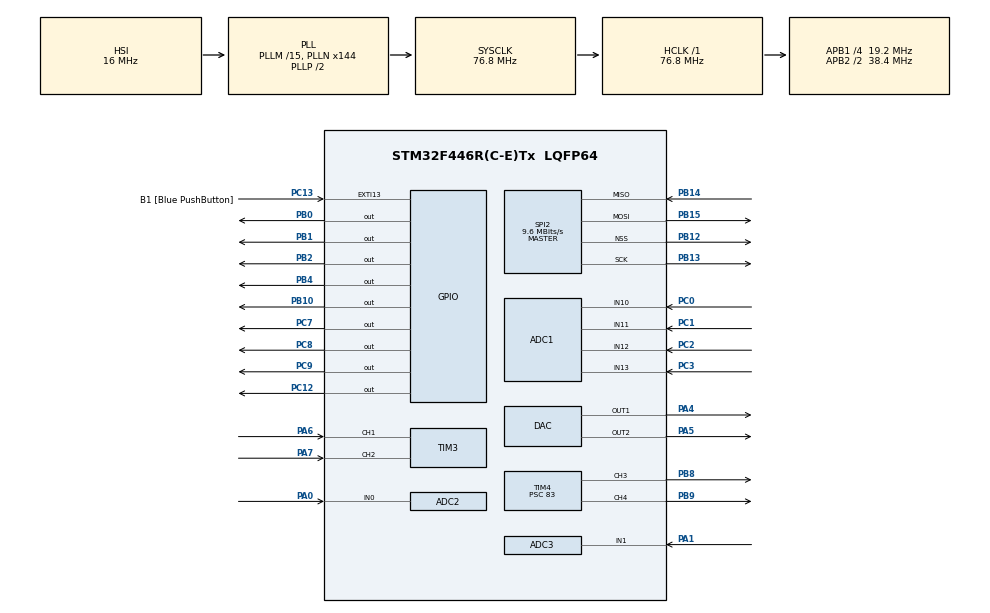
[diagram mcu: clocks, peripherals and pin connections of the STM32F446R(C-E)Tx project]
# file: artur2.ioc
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ADC1.Channel-2\#ChannelRegularConversion=ADC_CHANNEL_10
ADC1.ClockPrescaler=ADC_CLOCK_SYNC_PCLK_DIV8
ADC1.InjNumberOfConversion=0
ADC1.NbrOfConversion=1
ADC1.NbrOfConversionFlag=1
ADC1.Rank-2\#ChannelRegularConversion=1
ADC1.SamplingTime-2\#ChannelRegularConversion=ADC_SAMPLETIME_3CYCLES
ADC1.master=1
ADC2.Channel-0\#ChannelRegularConversion=ADC_CHANNEL_0
ADC2.ClockPrescaler=ADC_CLOCK_SYNC_PCLK_DIV8
ADC2.ContinuousConvMode=ENABLE
ADC2.NbrOfConversion=1
ADC2.NbrOfConversionFlag=1
ADC2.Rank-0\#ChannelRegularConversion=1
ADC2.SamplingTime-0\#ChannelRegularConversion=ADC_SAMPLETIME_3CYCLES
ADC3.Channel-2\#ChannelRegularConversion=ADC_CHANNEL_1
ADC3.ClockPrescaler=ADC_CLOCK_SYNC_PCLK_DIV8
ADC3.ContinuousConvMode=ENABLE
ADC3.NbrOfConversionFlag=1
ADC3.Rank-2\#ChannelRegularConversion=1
ADC3.SamplingTime-2\#ChannelRegularConversion=ADC_SAMPLETIME_3CYCLES
Dma.ADC2.0.Direction=DMA_PERIPH_TO_MEMORY
Dma.ADC2.0.FIFOMode=DMA_FIFOMODE_DISABLE
Dma.ADC2.0.Instance=DMA2_Stream2
Dma.ADC2.0.MemDataAlignment=DMA_MDATAALIGN_HALFWORD
Dma.ADC2.0.MemInc=DMA_MINC_ENABLE
Dma.ADC2.0.Mode=DMA_NORMAL
Dma.ADC2.0.PeriphDataAlignment=DMA_PDATAALIGN_HALFWORD
Dma.ADC2.0.PeriphInc=DMA_PINC_DISABLE
Dma.ADC2.0.Priority=DMA_PRIORITY_LOW
Dma.Request0=ADC2
Mcu.Family=STM32F4
Mcu.Name=STM32F446R(C-E)Tx
Mcu.Package=LQFP64
NVIC.DMA2_Stream2_IRQn=true\:0\:0\:false\:false\:true\:false\:true\:true
NVIC.PriorityGroup=NVIC_PRIORITYGROUP_0
PA0-WKUP.Signal=ADCx_IN0
PA1.Signal=ADCx_IN1
PA13.GPIO_Label=TMS
PA13.Mode=Serial_Wire
PA13.Signal=SYS_JTMS-SWDIO
PA14.GPIO_Label=TCK
PA14.Mode=Serial_Wire
PA14.Signal=SYS_JTCK-SWCLK
PA2.GPIO_Label=USART_TX
PA2.Signal=USART2_TX
PA3.GPIO_Label=USART_RX
PA3.Signal=USART2_RX
PA4.Signal=COMP_DAC1_group
PA5.Signal=COMP_DAC2_group
PA6.Signal=S_TIM3_CH1
PA7.Signal=S_TIM3_CH2
PB0.Signal=GPIO_Output
PB1.Signal=GPIO_Output
PB10.Signal=GPIO_Output
PB12.Mode=NSS_Signal_Hard_Output
PB12.Signal=SPI2_NSS
PB13.Mode=Full_Duplex_Master
PB13.Signal=SPI2_SCK
PB14.Mode=Full_Duplex_Master
PB14.Signal=SPI2_MISO
PB15.Mode=Full_Duplex_Master
PB15.Signal=SPI2_MOSI
PB2.Signal=GPIO_Output
PB3.Signal=SYS_JTDO-SWO
PB4.Signal=GPIO_Output
PB8.Signal=S_TIM4_CH3
PB9.Signal=S_TIM4_CH4
PC0.Signal=ADCx_IN10
PC1.Signal=ADCx_IN11
PC12.Signal=GPIO_Output
PC13.GPIO_Label=B1 [Blue PushButton]
PC13.GPIO_ModeDefaultEXTI=GPIO_MODE_IT_FALLING
PC13.Signal=GPXTI13
PC14-OSC32_IN.Mode=LSE-External-Oscillator
PC14-OSC32_IN.Signal=RCC_OSC32_IN
PC15-OSC32_OUT.Mode=LSE-External-Oscillator
PC15-OSC32_OUT.Signal=RCC_OSC32_OUT
PC2.Signal=ADCx_IN12
PC3.Signal=ADCx_IN13
PC7.Signal=GPIO_Output
PC8.Signal=GPIO_Output
PC9.Signal=GPIO_Output
PH0-OSC_IN.Mode=HSE-External-Oscillator
PH0-OSC_IN.Signal=RCC_OSC_IN
PH1-OSC_OUT.Mode=HSE-External-Oscillator
PH1-OSC_OUT.Signal=RCC_OSC_OUT
ProjectManager.HeapSize=0x200
ProjectManager.StackSize=0x400
ProjectManager.TargetToolchain=STM32CubeIDE
RCC.48MHZClocksFreq_Value=84000000
RCC.AHBFreq_Value=76800000
RCC.APB1CLKDivider=RCC_HCLK_DIV4
RCC.APB1Freq_Value=19200000
RCC.APB1TimFreq_Value=38400000
RCC.APB2CLKDivider=RCC_HCLK_DIV2
RCC.APB2Freq_Value=38400000
RCC.APB2TimFreq_Value=76800000
RCC.CortexFreq_Value=76800000
RCC.FLatency-AdvancedSettings=FLASH_LATENCY_2
RCC.HCLKFreq_Value=76800000
RCC.HSE_VALUE=25000000
RCC.HSI_VALUE=16000000
RCC.PLLM=15
RCC.PLLN=144
RCC.PLLQ=5
RCC.SYSCLKFreq_VALUE=76800000
RCC.SYSCLKSource=RCC_SYSCLKSOURCE_PLLCLK
RCC.USBFreq_Value=30720000
RCC.VCOOutputFreq_Value=153600000
SH.ADCx_IN0.0=ADC2_IN0,IN0
SH.ADCx_IN1.0=ADC3_IN1,IN1
SH.ADCx_IN10.0=ADC1_IN10,IN10
SH.ADCx_IN11.0=ADC1_IN11,IN11
SH.ADCx_IN12.0=ADC1_IN12,IN12
SH.ADCx_IN13.0=ADC1_IN13,IN13
SH.COMP_DAC1_group.0=DAC_OUT1,DAC_OUT1
SH.COMP_DAC2_group.0=DAC_OUT2,DAC_OUT2
SH.S_TIM3_CH1.0=TIM3_CH1,Input_Capture1_from_TI1
SH.S_TIM3_CH2.0=TIM3_CH2,Input_Capture2_from_TI2
SH.S_TIM4_CH3.0=TIM4_CH3,PWM Generation3 CH3
SH.S_TIM4_CH4.0=TIM4_CH4,PWM Generation4 CH4
SPI2.BaudRatePrescaler=SPI_BAUDRATEPRESCALER_2
SPI2.CalculateBaudRate=9.6 MBits/s
SPI2.Direction=SPI_DIRECTION_2LINES
SPI2.Mode=SPI_MODE_MASTER
SPI2.VirtualNSS=VM_NSSHARD
SPI2.VirtualType=VM_MASTER
TIM3.Channel-Input_Capture1_from_TI1=TIM_CHANNEL_1
TIM3.Channel-Input_Capture2_from_TI2=TIM_CHANNEL_2
TIM4.Channel-PWM\ Generation3\ CH3=TIM_CHANNEL_3
TIM4.Channel-PWM\ Generation4\ CH4=TIM_CHANNEL_4
TIM4.Period=19999
TIM4.Prescaler=83
TIM4.Pulse-PWM\ Generation3\ CH3=10000
TIM4.Pulse-PWM\ Generation4\ CH4=10000
VP_ADC1_Vref_Input.Mode=IN-Vrefint
board=NUCLEO-F446RE

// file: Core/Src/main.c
/* USER CODE BEGIN Header */
/**
  ******************************************************************************
  * @file           : main.c
  * @brief          : Main program body
  ******************************************************************************
  * @attention
  *
  * Copyright (c) 2024 STMicroelectronics.
  * All rights reserved.
  *
  * This software is licensed under terms that can be found in the LICENSE file
  * in the root directory of this software component.
  * If no LICENSE file comes with this software, it is provided AS-IS.
  *
  ******************************************************************************
  */
/* USER CODE END Header */
#include "main.h"

/* USER CODE BEGIN Includes */
#include "stdio.h"
#include "arm_math.h"
#include "temperature_control.h"
#include "toggle_pins.h"
#include "read_adc_voltage.h"
#include "read_voltage.h"
#include "measure_frequency.h"
#include "calculate_angles.h"

/* USER CODE END Includes */

/* USER CODE BEGIN PD */
#define NUM_SAMPLES 128  // Liczba próbek na kanał
#define ADC_CHANNELS 2   // Liczba kanałów (PA0, PA1)
#define FFT_SIZE 128

/* USER CODE END PD */

ADC_HandleTypeDef hadc1;
ADC_HandleTypeDef hadc2;
ADC_HandleTypeDef hadc3;
DMA_HandleTypeDef hdma_adc2;

DAC_HandleTypeDef hdac;

SPI_HandleTypeDef hspi2;

TIM_HandleTypeDef htim3;
TIM_HandleTypeDef htim4;

/* USER CODE BEGIN PV */
volatile uint32_t measuredFrequency = 0;
volatile uint8_t adc_ready = 0;

float fft_input[2*FFT_SIZE];
float fft_output[FFT_SIZE / 2]; // Magnitude output of the FFT
#define SAMPLE_RATE 10000       // Define your sampling rate in Hz
float thermistor_measurement[256];
uint16_t adc_buffer[FFT_SIZE];

typedef struct {
    float rsia;
    float rsib;
    float voltage_measurements;
    float frequency;
}PhaseSettings;

typedef struct {
    float amplitude_3kHz;
    PhaseSettings phaseSettinggs[4];

} DAC_Settings;

DAC_Settings measurements[1000];

/* USER CODE END PV */

void SystemClock_Config(void);
static void MX_GPIO_Init(void);
static void MX_DMA_Init(void);
static void MX_ADC1_Init(void);
static void MX_DAC_Init(void);
static void MX_SPI2_Init(void);
static void MX_ADC2_Init(void);
static void MX_ADC3_Init(void);
static void MX_TIM3_Init(void);
static void MX_TIM4_Init(void);
/* USER CODE BEGIN PFP */

void HAL_TIM_IC_CaptureCallback(TIM_HandleTypeDef *htim);
int _write(int file, char *ptr, int len);
void print_adc_results(void);
//void measure_frequency(void);
float Read_ADC_Voltage(void);
void Start_Timer(void);
uint32_t Stop_Timer(void);
void Measure_Time(void);
uint32_t ADC_Read(void);
void sendToAD5641(uint16_t value);
//void performFFT(const float32_t* input, float32_t* output, uint16_t size);
void toggle_pins(void);

/* USER CODE END PFP */

/* USER CODE BEGIN 0 */

void HAL_TIM_IC_CaptureCallback(TIM_HandleTypeDef *htim)
{
    static uint32_t capture1 = 0, capture2 = 0;

    if (htim->Instance == TIM3 && htim->Channel == HAL_TIM_ACTIVE_CHANNEL_1)
    {
        capture1 = capture2;
        capture2 = HAL_TIM_ReadCapturedValue(htim, TIM_CHANNEL_1);

        if (capture2 > capture1)
        {
            uint32_t period = capture2 - capture1;
            measuredFrequency = HAL_RCC_GetPCLK1Freq() / (htim->Init.Prescaler + 1) / period;
        }
        else if (capture1 > capture2)
        {
            uint32_t period = (htim->Init.Period - capture1) + capture2 + 1;
            measuredFrequency = HAL_RCC_GetPCLK1Freq() / (htim->Init.Prescaler + 1) / period;
        }
    }
}

//wypsiywanie pomiarów z PAO PA1
//AF_A AF_B

//LICZNIKI DO FREQ_MEAS
void Start_Timer(void)
{
    __HAL_TIM_SET_COUNTER(&htim2, 0);  // Zerowanie licznika
    HAL_TIM_Base_Start(&htim2);  // Uruchomienie timera
}

uint32_t Stop_Timer(void)
{
    HAL_TIM_Base_Stop(&htim2);  // Zatrzymanie timera
    return __HAL_TIM_GET_COUNTER(&htim2);  // Odczytanie wartości licznika
}

void Measure_Time(void)
{
    // Symulacja początku zdarzenia
    Start_Timer();

    HAL_Delay(1);  // Symulacja operacji, np. 1 ms opóźnienia

    // Symulacja końca zdarzenia
    uint32_t elapsed_time = Stop_Timer();

    // Wyświetlenie wyniku
    printf("Zmierzony czas: %lu µs\n\r", elapsed_time);
}

uint32_t ADC_Read(void)
{
    HAL_ADC_Start(&hadc1);  // Start pojedynczej konwersji
    HAL_ADC_PollForConversion(&hadc1, HAL_MAX_DELAY);  // Czekaj na wynik
    uint32_t value = HAL_ADC_GetValue(&hadc1);  // Pobranie wyniku
    return value;
}

//ustawienie wartości na PA4

void sendToAD5641(uint16_t value)
{
    uint8_t data[2];

    // Podziel wartość 16-bitową na 2 bajty
    data[0] = (value >> 8) & 0xFF; // MSB
    data[1] = value & 0xFF;        // LSB

    // Wybierz układ AD5641 (CS niski)
    HAL_GPIO_WritePin(GPIOB, GPIO_PIN_12, GPIO_PIN_RESET); // Przykladowy pin CS

    // Wyślij dane przez SPI
    HAL_SPI_Transmit(&hspi2, data, 2, HAL_MAX_DELAY);

    // Odznacz układ (CS wysoki)
    HAL_GPIO_WritePin(GPIOB, GPIO_PIN_12, GPIO_PIN_SET);
}

#include "arm_math.h"

void perform_fft(void) {
    // Initialize RFFT instance
    arm_rfft_fast_instance_f32 S;
    if (arm_rfft_fast_init_f32(&S, FFT_SIZE) != ARM_MATH_SUCCESS) {
        printf("FFT Initialization Error!\n\r");
        return;
    }

    // Convert ADC input to float and normalize
    for (int i = 0; i < FFT_SIZE; i++) {
        fft_input[i] = ((float)adc_buffer[i] / 4095.0f) * 3.3f; // Scale to voltage
    }

    // Perform FFT
    arm_rfft_fast_f32(&S, fft_input, fft_output, 0);

    // Compute magnitude of the FFT output
    for (int i = 0; i < FFT_SIZE / 2; i++) {
        fft_output[i] = sqrtf(fft_output[2 * i] * fft_output[2 * i] +
                              fft_output[2 * i + 1] * fft_output[2 * i + 1]);
    }

    // Find the dominant frequency
    float max_amplitude = 0.0f;
    uint32_t max_index = 0;
    for (int i = 0; i < FFT_SIZE / 2; i++) {
        if (fft_output[i] > max_amplitude) {
            max_amplitude = fft_output[i];
            max_index = i;
        }
    }

    // Compute the dominant frequency
    float dominant_frequency = (float)max_index * SAMPLE_RATE / FFT_SIZE;

    // Print results
    printf("Dominant Frequency: %.2f Hz, Amplitude: %.3f\n\r", dominant_frequency, max_amplitude);
}

void HAL_ADC_ConvCpltCallback(ADC_HandleTypeDef *hadc) {
    if (hadc->Instance == ADC2) {
        adc_ready = 1;  // Set a flag to indicate data is ready for processing
    }
}

#define DAC_MAX_VALUE          4095
#define DAC_STEP_SIZE          1

#define SAMPLES_COUNT          128       // Number of audio samples
#define SAMPLE_FREQUENCY       10000.0f  // 10 kHz sampling
#define TARGET_FREQ_BIN        13        // Approx. bin index for 1 kHz in 128-pt FFT at 10 kHz
#define RSSI_THRESHOLD         (0.05f)   // Example threshold for -50 dB, tune for your hardware
#define RATIO_THRESHOLD        2.0f      // Must be 2x average amplitude

// Structure to hold scanning candidates
typedef struct {
    float approximateSignalFrequency;  // e.g., from mapping DAC value to frequency
    uint16_t dacValue;
    float vcoTemperature;
    float amplitude1kHz;
    float averageAmplitude;
    float ratio;  // amplitude1kHz / averageAmplitude
} CandidateResult;

// Global or static arrays to store candidates
static CandidateResult candidateList[64]; // Adjust size if you expect more
static uint32_t candidateCount = 0;

// Forward declarations of functions assumed to exist.

//-------------------------------------------------------------------------
// Function: Perform a scanning procedure over a DAC range
//-------------------------------------------------------------------------

// Example frequency mapping for demonstration.
// Tweak to match your VCO's tuning curve or actual measured function.
static float CalculateFrequencyFromDAC(uint16_t dacValue)
{
    // Suppose 0 -> 2.3 GHz, 4095 -> 2.6 GHz, purely as an example:
    float freqMin = 2.3e9f; // 2.3 GHz
    float freqMax = 2.6e9f; // 2.6 GHz
    float ratio   = (float)dacValue / (float)DAC_MAX_VALUE;
    return freqMin + ratio * (freqMax - freqMin);
}

static void SetDACValue(uint16_t dacValue)
{
    // Example stub. You would set your hardware DAC here.
    // e.g., HAL_DAC_SetValue(&hdac, DAC_CHANNEL_1, DAC_ALIGN_12B_R, dacValue);
}

static float MeasureRSSI(void)
{
    //TODO
	return 0;
}

static void AcquireAudioSamples(float *buffer, uint32_t numSamples, float sampleRate)
{
	//remember that buffer size = 2*numSamples
   //TODO
}

void ScanFrequencyRange(void)
{
    float bestRatio = 0.0f;
    uint16_t bestDACValue = 0;

    // Clear candidate list
    candidateCount = 0;

    // Iterate through the DAC range
    for(uint16_t dacValue = 0; dacValue <= DAC_MAX_VALUE; dacValue += DAC_STEP_SIZE)
    {
        // 1) Set the DAC to the current value
        SetDACValue(dacValue);

        // 2) Measure the RSSI
        float rssi = MeasureRSSI();

        // Check if RSSI > -50 dB threshold
        if(rssi > RSSI_THRESHOLD)
        {
            // 3) Acquire 128 samples of the demodulated audio at 10 kHz
            AcquireAudioSamples(fft_input, FFT_SIZE, SAMPLE_FREQUENCY);

            // 5) Check amplitude at ~1 kHz vs. average amplitude
            //    The bin for 1 kHz is roughly ~13 for 128 samples at 10 kHz
            float amplitude1kHz = fft_output[TARGET_FREQ_BIN];

            // Compute average amplitude across all bins from 0..(SAMPLES_COUNT/2 - 1)
            // (You might skip bin 0 if it’s large DC, but that’s up to you.)
            float sum = 0.0f;
            for(uint32_t i = 0; i < (SAMPLES_COUNT / 2); i++) {
                sum += fft_output[i];
            }
            float avgAmplitude = sum / (float)(SAMPLES_COUNT / 2);

            float ratio = amplitude1kHz / (avgAmplitude + 1e-9f); // Avoid divide-by-zero

            // Check if amplitude at 1 kHz is >= 2x average
            if(ratio >= RATIO_THRESHOLD)
            {
                // 6) Record in candidate list
                if(candidateCount < (sizeof(candidateList)/sizeof(candidateList[0])))
                {
                    candidateList[candidateCount].approximateSignalFrequency = CalculateFrequencyFromDAC(dacValue);
                    candidateList[candidateCount].dacValue                 = dacValue;
                    candidateList[candidateCount].vcoTemperature           = Read_Temperature_Celsius();
                    candidateList[candidateCount].amplitude1kHz            = amplitude1kHz;
                    candidateList[candidateCount].averageAmplitude         = avgAmplitude;
                    candidateList[candidateCount].ratio                    = ratio;
                    candidateCount++;
                }

                // 7) Print results
                printf("Candidate found!\n\r");
                printf("  DAC = %u\n\r", dacValue);
                printf("  RSSI = %.3f\n\r", rssi);
                printf("  Approx. Frequency = %.2f Hz\n\r",
                       CalculateFrequencyFromDAC(dacValue));
                printf("  Temperature = %.2f degC\n\r", Read_Temperature_Celsius());
                printf("  1 kHz amplitude = %.4f\n\r", amplitude1kHz);
                printf("  Average amplitude = %.4f\n\r", avgAmplitude);
                printf("  Ratio (1kHz/avg) = %.2f\n\r", ratio);

                // Keep track of the best ratio
                if(ratio > bestRatio)
                {
                    bestRatio   = ratio;
                    bestDACValue = dacValue;
                }
            }
        } // end if RSSI > threshold
    } // end for(dacValue)

    // 8) After scanning, set DAC to the value that yielded the highest ratio
    if(bestRatio > 0.0f)
    {
        SetDACValue(bestDACValue);
        printf("\nSetting DAC to best ratio candidate:\n\r");
        printf("  Best DAC Value = %u\n\r", bestDACValue);
        printf("  Best Ratio     = %.2f\n\n\r", bestRatio);
    }
    else
    {
        printf("No valid candidate found above threshold.\n\r");
    }
}

//-------------------------------------------------------------------------
// Example stubs for hardware-specific functions
// (Implement these for your hardware.)
//-------------------------------------------------------------------------

/* USER CODE END 0 */

int main(void)
{

  /* MCU Configuration--------------------------------------------------------*/

  /* Reset of all peripherals, Initializes the Flash interface and the Systick. */
  HAL_Init();

  /* Configure the system clock */
  SystemClock_Config();

  /* Initialize all configured peripherals */
  MX_GPIO_Init();
  MX_DMA_Init();
  MX_ADC1_Init();
  MX_DAC_Init();
  MX_SPI2_Init();
  MX_ADC2_Init();
  MX_ADC3_Init();
  MX_TIM3_Init();
  MX_TIM4_Init();
  /* USER CODE BEGIN 2 */
  HAL_ADC_Start_DMA(&hadc2, (uint32_t *)adc_buffer, NUM_SAMPLES);
  Heater_Update_Blocking();
  ScanFrequencyRange();
  /* USER CODE END 2 */

  /* Infinite loop */
  /* USER CODE BEGIN WHILE */
  uint8_t num =0;
  HAL_TIM_IC_Start_IT(&htim3, TIM_CHANNEL_1);
  while (1)
  {
    /* USER CODE END WHILE */

    /* USER CODE BEGIN 3 */
	  //toggle_pins();
	 Heater_Update_Non_Blocking();

	 float cos_alpha[4];
	 float cos_beta[4];
	  for (uint8_t pair = 0; pair < 4; pair++) {
		  toggle_pins();
		  measurements[num].phaseSettinggs[pair].voltage_measurements=read_ADC_voltage();
		  measurements[num].phaseSettinggs[pair].rsia=read_voltage(&hadc1, ADC_CHANNEL_10);
		  measurements[num].phaseSettinggs[pair].rsib=read_voltage(&hadc1, ADC_CHANNEL_11);
		  measurements[num].phaseSettinggs[pair].frequency=measure_frequency();
		  float max_voltage = 3.3f;
		  float mcos_alpha = measurements[num].phaseSettinggs[pair].rsia / max_voltage;
		  float mcos_beta = measurements[num].phaseSettinggs[pair].rsib / max_voltage;

		  cos_alpha[pair] = mcos_alpha;
		  cos_beta[pair]  = mcos_beta;
		  printf("Antenna Pair %d: Detector=%.2f V, RSSI_A=%.2f V, RSSI_B=%.2f V, Frequency=%.2f Hz\n\r",
				  pair,
				  measurements[num].phaseSettinggs[pair].voltage_measurements,
				  measurements[num].phaseSettinggs[pair].rsia,
				  measurements[num].phaseSettinggs[pair].rsib,
				  measurements[num].phaseSettinggs[pair].frequency
				  );

		  //set_servo_pwm(&htim4, TIM_CHANNEL_3, angles.azimuth);
		  //set_servo_pwm(&htim4, TIM_CHANNEL_4, angles.elevation);
		  HAL_Delay(100);
	  }
	  AngleResults angles = calculate_angles(cos_alpha, cos_beta);
	  num++;
	  if(num>900)
		  num=0;
	  printf("aaa");
  }
  /* USER CODE END 3 */
}

void SystemClock_Config(void)
{
  RCC_OscInitTypeDef RCC_OscInitStruct = {0};
  RCC_ClkInitTypeDef RCC_ClkInitStruct = {0};

  /** Configure the main internal regulator output voltage
  */
  __HAL_RCC_PWR_CLK_ENABLE();
  __HAL_PWR_VOLTAGESCALING_CONFIG(PWR_REGULATOR_VOLTAGE_SCALE3);

  /** Initializes the RCC Oscillators according to the specified parameters
  * in the RCC_OscInitTypeDef structure.
  */
  RCC_OscInitStruct.OscillatorType = RCC_OSCILLATORTYPE_HSI;
  RCC_OscInitStruct.HSIState = RCC_HSI_ON;
  RCC_OscInitStruct.HSICalibrationValue = RCC_HSICALIBRATION_DEFAULT;
  RCC_OscInitStruct.PLL.PLLState = RCC_PLL_ON;
  RCC_OscInitStruct.PLL.PLLSource = RCC_PLLSOURCE_HSI;
  RCC_OscInitStruct.PLL.PLLM = 15;
  RCC_OscInitStruct.PLL.PLLN = 144;
  RCC_OscInitStruct.PLL.PLLP = RCC_PLLP_DIV2;
  RCC_OscInitStruct.PLL.PLLQ = 5;
  RCC_OscInitStruct.PLL.PLLR = 2;
  if (HAL_RCC_OscConfig(&RCC_OscInitStruct) != HAL_OK)
  {
    Error_Handler();
  }

  /** Initializes the CPU, AHB and APB buses clocks
  */
  RCC_ClkInitStruct.ClockType = RCC_CLOCKTYPE_HCLK|RCC_CLOCKTYPE_SYSCLK
                              |RCC_CLOCKTYPE_PCLK1|RCC_CLOCKTYPE_PCLK2;
  RCC_ClkInitStruct.SYSCLKSource = RCC_SYSCLKSOURCE_PLLCLK;
  RCC_ClkInitStruct.AHBCLKDivider = RCC_SYSCLK_DIV1;
  RCC_ClkInitStruct.APB1CLKDivider = RCC_HCLK_DIV4;
  RCC_ClkInitStruct.APB2CLKDivider = RCC_HCLK_DIV2;

  if (HAL_RCC_ClockConfig(&RCC_ClkInitStruct, FLASH_LATENCY_2) != HAL_OK)
  {
    Error_Handler();
  }
}

static void MX_ADC1_Init(void)
{

  ADC_ChannelConfTypeDef sConfig = {0};

  /** Configure the global features of the ADC (Clock, Resolution, Data Alignment and number of conversion)
  */
  hadc1.Instance = ADC1;
  hadc1.Init.ClockPrescaler = ADC_CLOCK_SYNC_PCLK_DIV8;
  hadc1.Init.Resolution = ADC_RESOLUTION_12B;
  hadc1.Init.ScanConvMode = DISABLE;
  hadc1.Init.ContinuousConvMode = DISABLE;
  hadc1.Init.DiscontinuousConvMode = DISABLE;
  hadc1.Init.ExternalTrigConvEdge = ADC_EXTERNALTRIGCONVEDGE_NONE;
  hadc1.Init.ExternalTrigConv = ADC_SOFTWARE_START;
  hadc1.Init.DataAlign = ADC_DATAALIGN_RIGHT;
  hadc1.Init.NbrOfConversion = 1;
  hadc1.Init.DMAContinuousRequests = DISABLE;
  hadc1.Init.EOCSelection = ADC_EOC_SINGLE_CONV;
  if (HAL_ADC_Init(&hadc1) != HAL_OK)
  {
    Error_Handler();
  }

  /** Configure for the selected ADC regular channel its corresponding rank in the sequencer and its sample time.
  */
  sConfig.Channel = ADC_CHANNEL_10;
  sConfig.Rank = 1;
  sConfig.SamplingTime = ADC_SAMPLETIME_3CYCLES;
  if (HAL_ADC_ConfigChannel(&hadc1, &sConfig) != HAL_OK)
  {
    Error_Handler();
  }

}

static void MX_ADC2_Init(void)
{

  ADC_ChannelConfTypeDef sConfig = {0};

  /** Configure the global features of the ADC (Clock, Resolution, Data Alignment and number of conversion)
  */
  hadc2.Instance = ADC2;
  hadc2.Init.ClockPrescaler = ADC_CLOCK_SYNC_PCLK_DIV8;
  hadc2.Init.Resolution = ADC_RESOLUTION_12B;
  hadc2.Init.ScanConvMode = DISABLE;
  hadc2.Init.ContinuousConvMode = ENABLE;
  hadc2.Init.DiscontinuousConvMode = DISABLE;
  hadc2.Init.ExternalTrigConvEdge = ADC_EXTERNALTRIGCONVEDGE_NONE;
  hadc2.Init.ExternalTrigConv = ADC_SOFTWARE_START;
  hadc2.Init.DataAlign = ADC_DATAALIGN_RIGHT;
  hadc2.Init.NbrOfConversion = 1;
  hadc2.Init.DMAContinuousRequests = DISABLE;
  hadc2.Init.EOCSelection = ADC_EOC_SINGLE_CONV;
  if (HAL_ADC_Init(&hadc2) != HAL_OK)
  {
    Error_Handler();
  }

  /** Configure for the selected ADC regular channel its corresponding rank in the sequencer and its sample time.
  */
  sConfig.Channel = ADC_CHANNEL_0;
  sConfig.Rank = 1;
  sConfig.SamplingTime = ADC_SAMPLETIME_3CYCLES;
  if (HAL_ADC_ConfigChannel(&hadc2, &sConfig) != HAL_OK)
  {
    Error_Handler();
  }

}

static void MX_ADC3_Init(void)
{

  ADC_ChannelConfTypeDef sConfig = {0};

  /** Configure the global features of the ADC (Clock, Resolution, Data Alignment and number of conversion)
  */
  hadc3.Instance = ADC3;
  hadc3.Init.ClockPrescaler = ADC_CLOCK_SYNC_PCLK_DIV8;
  hadc3.Init.Resolution = ADC_RESOLUTION_12B;
  hadc3.Init.ScanConvMode = DISABLE;
  hadc3.Init.ContinuousConvMode = ENABLE;
  hadc3.Init.DiscontinuousConvMode = DISABLE;
  hadc3.Init.ExternalTrigConvEdge = ADC_EXTERNALTRIGCONVEDGE_NONE;
  hadc3.Init.ExternalTrigConv = ADC_SOFTWARE_START;
  hadc3.Init.DataAlign = ADC_DATAALIGN_RIGHT;
  hadc3.Init.NbrOfConversion = 1;
  hadc3.Init.DMAContinuousRequests = DISABLE;
  hadc3.Init.EOCSelection = ADC_EOC_SINGLE_CONV;
  if (HAL_ADC_Init(&hadc3) != HAL_OK)
  {
    Error_Handler();
  }

  /** Configure for the selected ADC regular channel its corresponding rank in the sequencer and its sample time.
  */
  sConfig.Channel = ADC_CHANNEL_1;
  sConfig.Rank = 1;
  sConfig.SamplingTime = ADC_SAMPLETIME_3CYCLES;
  if (HAL_ADC_ConfigChannel(&hadc3, &sConfig) != HAL_OK)
  {
    Error_Handler();
  }

}

static void MX_DAC_Init(void)
{

  DAC_ChannelConfTypeDef sConfig = {0};

  /** DAC Initialization
  */
  hdac.Instance = DAC;
  if (HAL_DAC_Init(&hdac) != HAL_OK)
  {
    Error_Handler();
  }

  /** DAC channel OUT1 config
  */
  sConfig.DAC_Trigger = DAC_TRIGGER_NONE;
  sConfig.DAC_OutputBuffer = DAC_OUTPUTBUFFER_ENABLE;
  if (HAL_DAC_ConfigChannel(&hdac, &sConfig, DAC_CHANNEL_1) != HAL_OK)
  {
    Error_Handler();
  }

  /** DAC channel OUT2 config
  */
  if (HAL_DAC_ConfigChannel(&hdac, &sConfig, DAC_CHANNEL_2) != HAL_OK)
  {
    Error_Handler();
  }

}

static void MX_SPI2_Init(void)
{

  /* SPI2 parameter configuration*/
  hspi2.Instance = SPI2;
  hspi2.Init.Mode = SPI_MODE_MASTER;
  hspi2.Init.Direction = SPI_DIRECTION_2LINES;
  hspi2.Init.DataSize = SPI_DATASIZE_8BIT;
  hspi2.Init.CLKPolarity = SPI_POLARITY_LOW;
  hspi2.Init.CLKPhase = SPI_PHASE_1EDGE;
  hspi2.Init.NSS = SPI_NSS_HARD_OUTPUT;
  hspi2.Init.BaudRatePrescaler = SPI_BAUDRATEPRESCALER_2;
  hspi2.Init.FirstBit = SPI_FIRSTBIT_MSB;
  hspi2.Init.TIMode = SPI_TIMODE_DISABLE;
  hspi2.Init.CRCCalculation = SPI_CRCCALCULATION_DISABLE;
  hspi2.Init.CRCPolynomial = 10;
  if (HAL_SPI_Init(&hspi2) != HAL_OK)
  {
    Error_Handler();
  }

}

static void MX_TIM3_Init(void)
{

  TIM_MasterConfigTypeDef sMasterConfig = {0};
  TIM_IC_InitTypeDef sConfigIC = {0};

  htim3.Instance = TIM3;
  htim3.Init.Prescaler = 0;
  htim3.Init.CounterMode = TIM_COUNTERMODE_UP;
  htim3.Init.Period = 65535;
  htim3.Init.ClockDivision = TIM_CLOCKDIVISION_DIV1;
  htim3.Init.AutoReloadPreload = TIM_AUTORELOAD_PRELOAD_DISABLE;
  if (HAL_TIM_IC_Init(&htim3) != HAL_OK)
  {
    Error_Handler();
  }
  sMasterConfig.MasterOutputTrigger = TIM_TRGO_RESET;
  sMasterConfig.MasterSlaveMode = TIM_MASTERSLAVEMODE_DISABLE;
  if (HAL_TIMEx_MasterConfigSynchronization(&htim3, &sMasterConfig) != HAL_OK)
  {
    Error_Handler();
  }
  sConfigIC.ICPolarity = TIM_INPUTCHANNELPOLARITY_RISING;
  sConfigIC.ICSelection = TIM_ICSELECTION_DIRECTTI;
  sConfigIC.ICPrescaler = TIM_ICPSC_DIV1;
  sConfigIC.ICFilter = 0;
  if (HAL_TIM_IC_ConfigChannel(&htim3, &sConfigIC, TIM_CHANNEL_1) != HAL_OK)
  {
    Error_Handler();
  }
  if (HAL_TIM_IC_ConfigChannel(&htim3, &sConfigIC, TIM_CHANNEL_2) != HAL_OK)
  {
    Error_Handler();
  }

}

static void MX_TIM4_Init(void)
{

  TIM_MasterConfigTypeDef sMasterConfig = {0};
  TIM_OC_InitTypeDef sConfigOC = {0};

  htim4.Instance = TIM4;
  htim4.Init.Prescaler = 83;
  htim4.Init.CounterMode = TIM_COUNTERMODE_UP;
  htim4.Init.Period = 19999;
  htim4.Init.ClockDivision = TIM_CLOCKDIVISION_DIV1;
  htim4.Init.AutoReloadPreload = TIM_AUTORELOAD_PRELOAD_DISABLE;
  if (HAL_TIM_PWM_Init(&htim4) != HAL_OK)
  {
    Error_Handler();
  }
  sMasterConfig.MasterOutputTrigger = TIM_TRGO_RESET;
  sMasterConfig.MasterSlaveMode = TIM_MASTERSLAVEMODE_DISABLE;
  if (HAL_TIMEx_MasterConfigSynchronization(&htim4, &sMasterConfig) != HAL_OK)
  {
    Error_Handler();
  }
  sConfigOC.OCMode = TIM_OCMODE_PWM1;
  sConfigOC.Pulse = 10000;
  sConfigOC.OCPolarity = TIM_OCPOLARITY_HIGH;
  sConfigOC.OCFastMode = TIM_OCFAST_DISABLE;
  if (HAL_TIM_PWM_ConfigChannel(&htim4, &sConfigOC, TIM_CHANNEL_3) != HAL_OK)
  {
    Error_Handler();
  }
  if (HAL_TIM_PWM_ConfigChannel(&htim4, &sConfigOC, TIM_CHANNEL_4) != HAL_OK)
  {
    Error_Handler();
  }
  HAL_TIM_MspPostInit(&htim4);

}

static void MX_DMA_Init(void)
{

  /* DMA controller clock enable */
  __HAL_RCC_DMA2_CLK_ENABLE();

  /* DMA interrupt init */
  /* DMA2_Stream2_IRQn interrupt configuration */
  HAL_NVIC_SetPriority(DMA2_Stream2_IRQn, 0, 0);
  HAL_NVIC_EnableIRQ(DMA2_Stream2_IRQn);

}

static void MX_GPIO_Init(void)
{
  GPIO_InitTypeDef GPIO_InitStruct = {0};

  /* GPIO Ports Clock Enable */
  __HAL_RCC_GPIOC_CLK_ENABLE();  // Enable clock for GPIOC
  __HAL_RCC_GPIOH_CLK_ENABLE();  // Enable clock for GPIOH
  __HAL_RCC_GPIOA_CLK_ENABLE();  // Enable clock for GPIOA
  __HAL_RCC_GPIOB_CLK_ENABLE();  // Enable clock for GPIOB

  /* Configure GPIO pins PC0 and PC1 as analog inputs for ADC */
  GPIO_InitStruct.Pin = GPIO_PIN_0 | GPIO_PIN_1;  // PC0 and PC1
  GPIO_InitStruct.Mode = GPIO_MODE_ANALOG;       // Analog mode
  GPIO_InitStruct.Pull = GPIO_NOPULL;            // No pull-up or pull-down
  HAL_GPIO_Init(GPIOC, &GPIO_InitStruct);        // Initialize GPIOC with the above settings

  /* Configure GPIO pin Output Level for other pins */
  HAL_GPIO_WritePin(GPIOB, GPIO_PIN_0 | GPIO_PIN_1 | GPIO_PIN_2 | GPIO_PIN_10
                          | GPIO_PIN_4, GPIO_PIN_RESET);
  HAL_GPIO_WritePin(GPIOC, GPIO_PIN_7 | GPIO_PIN_8 | GPIO_PIN_9 | GPIO_PIN_12, GPIO_PIN_RESET);

  /* Configure GPIO pin : B1_Pin */
  GPIO_InitStruct.Pin = B1_Pin;
  GPIO_InitStruct.Mode = GPIO_MODE_IT_FALLING;
  GPIO_InitStruct.Pull = GPIO_NOPULL;
  HAL_GPIO_Init(B1_GPIO_Port, &GPIO_InitStruct);

  /* Configure GPIO pins : USART_TX_Pin USART_RX_Pin */
  GPIO_InitStruct.Pin = USART_TX_Pin | USART_RX_Pin;
  GPIO_InitStruct.Mode = GPIO_MODE_AF_PP;
  GPIO_InitStruct.Pull = GPIO_NOPULL;
  GPIO_InitStruct.Speed = GPIO_SPEED_FREQ_VERY_HIGH;
  GPIO_InitStruct.Alternate = GPIO_AF7_USART2;
  HAL_GPIO_Init(GPIOA, &GPIO_InitStruct);

  /* Configure GPIO pins : PB0 PB1 PB2 PB10 PB4 */
  GPIO_InitStruct.Pin = GPIO_PIN_0 | GPIO_PIN_1 | GPIO_PIN_2 | GPIO_PIN_10 | GPIO_PIN_4;
  GPIO_InitStruct.Mode = GPIO_MODE_OUTPUT_PP;
  GPIO_InitStruct.Pull = GPIO_NOPULL;
  GPIO_InitStruct.Speed = GPIO_SPEED_FREQ_LOW;
  HAL_GPIO_Init(GPIOB, &GPIO_InitStruct);

  /* Configure GPIO pins : PC7 PC8 PC9 PC12 */
  GPIO_InitStruct.Pin = GPIO_PIN_7 | GPIO_PIN_8 | GPIO_PIN_9 | GPIO_PIN_12;
  GPIO_InitStruct.Mode = GPIO_MODE_OUTPUT_PP;
  GPIO_InitStruct.Pull = GPIO_NOPULL;
  GPIO_InitStruct.Speed = GPIO_SPEED_FREQ_LOW;
  HAL_GPIO_Init(GPIOC, &GPIO_InitStruct);
}

void Error_Handler(void)
{
  __disable_irq();
  while (1)
  {
  }
}
